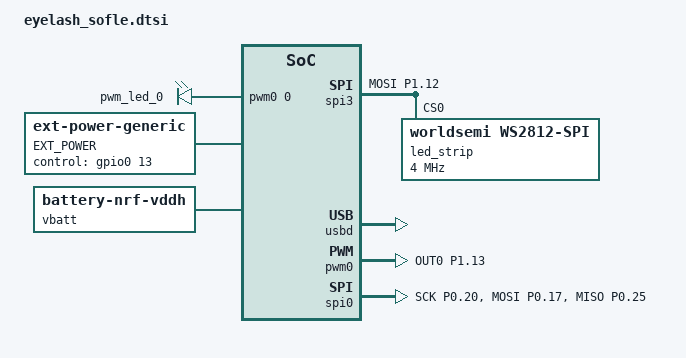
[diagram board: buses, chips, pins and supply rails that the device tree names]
/*
*
* Copyright (c) 2021 Darryl deHaan
* SPDX-License-Identifier: MIT
*
*/
#include <dt-bindings/led/led.h>
#include "eyelash_sofle-logical.dtsi"

/ {

    chosen {
        zmk,kscan = &kscan0;
        zmk,battery = &vbatt;
        zmk,underglow = &led_strip;
        zmk,backlight = &backlight;
        zmk,physical-layout = &eyelash_sofle_layout;

    };

    backlight: pwmleds {
        compatible = "pwm-leds";
        pwm_led_0 {
            pwms = <&pwm0 0 PWM_MSEC(1) PWM_POLARITY_NORMAL>;
        };
    };

    left_encoder: encoder_left {
        compatible = "alps,ec11";
        a-gpios = <&gpio1 10 (GPIO_ACTIVE_HIGH | GPIO_PULL_UP)>;
        b-gpios = <&gpio1 14 (GPIO_ACTIVE_HIGH | GPIO_PULL_UP)>;
        steps = <40>;
        status = "disabled";
    };

    sensors {
        compatible = "zmk,keymap-sensors";
        triggers-per-rotation = <20>;
        sensors = <&left_encoder>;
    };

    kscan0: kscan {
        wakeup-source;
        diode-direction = "col2row";
    };

    ext-power {
        compatible = "zmk,ext-power-generic";
        label = "EXT_POWER";
        control-gpios = <&gpio0 13 GPIO_ACTIVE_HIGH>;
        init-delay-ms = <50>;
    };

    vbatt: vbatt {
        compatible = "zmk,battery-nrf-vddh";
    };


};

&pinctrl {

    spi0_default: spi0_default {
        group1 {
            psels = <NRF_PSEL(SPIM_SCK, 0, 20)>,
                <NRF_PSEL(SPIM_MOSI, 0, 17)>,
                <NRF_PSEL(SPIM_MISO, 0, 25)>;
        };
    };

    spi0_sleep: spi0_sleep {
        group1 {
            psels = <NRF_PSEL(SPIM_SCK, 0, 20)>,
                <NRF_PSEL(SPIM_MOSI, 0, 17)>,
                <NRF_PSEL(SPIM_MISO, 0, 25)>;
            low-power-enable;
        };
    };

    spi3_default: spi3_default {
        group1 {
            psels = <NRF_PSEL(SPIM_MOSI, 1, 12)>; // WS2812_VEXT_DATA
        };
    };

    spi3_sleep: spi3_sleep {
        group1 {
            psels = <NRF_PSEL(SPIM_MOSI, 1, 12)>;
            low-power-enable;
        };
    };
    pwm0_default: pwm0_default {
        group1 {
            psels = <NRF_PSEL(PWM_OUT0, 1, 13)>;
        };
    };
    pwm0_sleep: pwm0_sleep {
        group1 {
            psels = <NRF_PSEL(PWM_OUT0, 1, 13)>;
            low-power-enable;
        };
    };
};

&spi3 {
    compatible = "nordic,nrf-spim";
    status = "okay";

    pinctrl-0 = <&spi3_default>;
    pinctrl-1 = <&spi3_sleep>;
    pinctrl-names = "default", "sleep";

    led_strip: ws2812@0 {
        compatible = "worldsemi,ws2812-spi";

        /* SPI */
        reg = <0>; /* ignored, but necessary for SPI bindings */
        spi-max-frequency = <4000000>;

        /* WS2812 */
        chain-length = <7>; /* 6 keys have underglow at the moment */
        spi-one-frame = <0x70>;
        spi-zero-frame = <0x40>;

        color-mapping = <LED_COLOR_ID_GREEN LED_COLOR_ID_RED LED_COLOR_ID_BLUE>;
    };
};

zephyr_udc0: &usbd {
    compatible = "nordic,nrf-usbd";
    status = "okay";
};

&pwm0 {
    status = "okay";
    pinctrl-0 = <&pwm0_default>;
    pinctrl-1 = <&pwm0_sleep>;
    pinctrl-names = "default", "sleep";
};

nice_view_spi: &spi0 {
    compatible = "nordic,nrf-spim";
    pinctrl-0 = <&spi0_default>;
    pinctrl-1 = <&spi0_sleep>;
    pinctrl-names = "default", "sleep";
    cs-gpios = <&gpio0 6 GPIO_ACTIVE_HIGH>;
};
